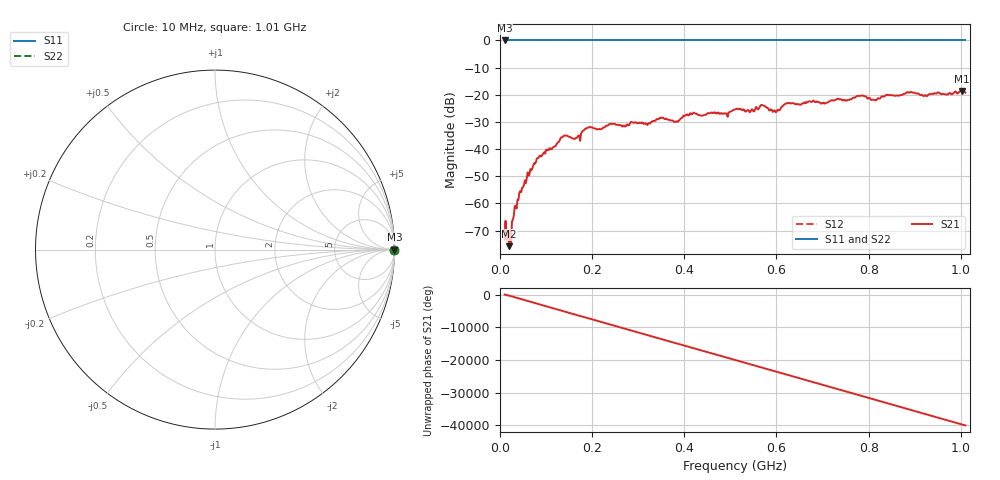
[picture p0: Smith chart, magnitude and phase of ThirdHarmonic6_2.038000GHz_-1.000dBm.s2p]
! 8/17/2025 12:26:55 AM
! C:\ANRITSUVNA\TEMP\TEMP.S2P
! CHANNEL.1
! TR.MEASUREMENT
! RAW.DATA
! RF.CORRECTION.OFF
! AVERAGING.OFF
! IF.BANDWIDTH: 5KHZ
! SWEEPTYPE:  FREQ.SWEEP(Linear)
! Reference Plane Port Info
! PORT:  PORT1  PORT2
! DISTANCE:  0  m  0  m
! TIME:  0  s  0  s
! PHASE.OFFSET:  0  deg.  0  deg.
! LOSS:  0  dB  0  dB
! REF.LOSS:  0  dB  0  dB
! REF.FREQ:  0  Hz  0  Hz
! Power Info
! POWER:  -20  dBm  -20  dBm
! EFF.POWER:  -20  dBm  -20  dBm
! SOURCE.ATTEN:  0  dB  0  dB
! TEST.ATTEN:  0  dB  0  dB
# GHZ S RI R 50.0
! FREQ.GHZ  S11RE  S11IM  S21RE  S21IM  S12RE  S12IM  S22RE  S22IM
!; PortSelection: Port_12
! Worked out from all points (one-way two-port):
!   501 points, 10 MHz to 1.01 GHz, reference 50 ohm
!   highest |S21| = -18.56 dB at 1.002 GHz (marker M1); lowest = -75.7 dB at 20 MHz (marker M2)
!   lowest |S11| = 0.0 dB at 10 MHz (marker M3)
!   |S11| at or under -10 dB: nowhere
!   |S22| runs from 0.0 to 0.0 dB; largest |S21 - S12| = 1.1
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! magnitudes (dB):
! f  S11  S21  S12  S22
! 10 MHz  0.0  -73.3  0.0  0.0
! 20 MHz  0.0  -75.7  0.0  0.0
! 24 MHz  0.0  -74.6  0.0  0.0
! 30 MHz  0.0  -64.5  0.0  0.0
! 42 MHz  0.0  -56.1  0.0  0.0
! 82 MHz  0.0  -43.3  0.0  0.0
! 136 MHz  0.0  -35.6  0.0  0.0
! 178 MHz  0.0  -33.6  0.0  0.0
! 194 MHz  0.0  -31.9  0.0  0.0
! 322 MHz  0.0  -30.5  0.0  0.0
! 344 MHz  0.0  -29.0  0.0  0.0
! 382 MHz  0.0  -29.9  0.0  0.0
! 416 MHz  0.0  -27.2  0.0  0.0
! 490 MHz  0.0  -27.0  0.0  0.0
! 510 MHz  0.0  -25.4  0.0  0.0
! 570 MHz  0.0  -23.8  0.0  0.0
! 596 MHz  0.0  -25.7  0.0  0.0
! 622 MHz  0.0  -23.1  0.0  0.0
! 678 MHz  0.0  -22.5  0.0  0.0
! 844 MHz  0.0  -20.2  0.0  0.0
! 1.002 GHz  0.0  -18.6  0.0  0.0
! 1.01 GHz  0.0  -19.2  0.0  0.0
